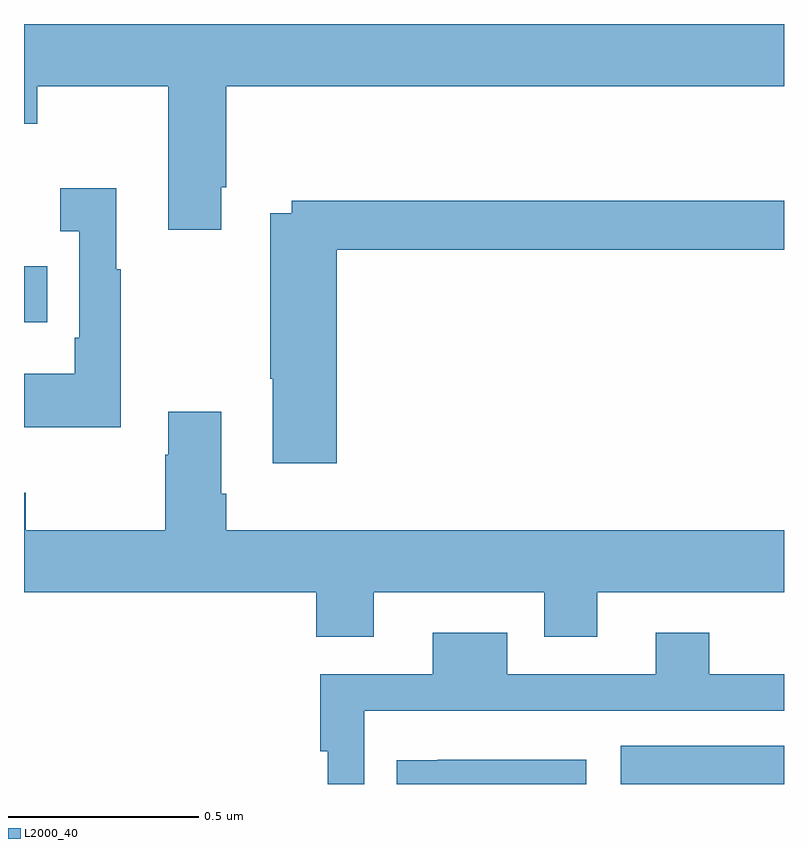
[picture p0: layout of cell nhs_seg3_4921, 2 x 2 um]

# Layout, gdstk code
import gdstk
lib = gdstk.Library(unit=1e-6, precision=1e-09)
def R(c, l, rs):  # rectangles x0, y0, x1, y1
    for r in rs: c.add(gdstk.rectangle(r[:2], r[2:], *l))
def P(c, l, *ps):  # polygons
    for p in ps: c.add(gdstk.Polygon(p, *l))
L2000_40 = (2000, 40)

nhs_seg3_4921 = lib.new_cell('nhs_seg3_4921')
R(nhs_seg3_4921, L2000_40, [(173.57,712.4,174,712.501), (172,713.615,172.061,713.763)])
P(nhs_seg3_4921, L2000_40, [(172.519,713.971),(172.532,713.971),(172.532,714.236),(174,714.236),(174,714.4),(172,714.4),(172,714.137),(172.035,714.137),(172.035,714.236),(172.379,714.236),(172.379,713.859),(172.519,713.859)],
  [(172.255,713.755),(172.243,713.755),(172.243,713.968),(172.095,713.968),(172.095,713.855),(172.146,713.855),(172.146,713.575),(172.134,713.575),(172.134,713.479),(172,713.479),(172,713.339),(172.255,713.339)],
  [(172.823,713.806),(174,713.806),(174,713.935),(172.704,713.935),(172.704,713.902),(172.648,713.902),(172.648,713.467),(172.655,713.467),(172.655,713.244),(172.823,713.244)],
  [(172.921,712.904),(173.369,712.904),(173.369,712.787),(173.509,712.787),(173.509,712.904),(174,712.904),(174,713.068),(172.532,713.068),(172.532,713.164),(172.519,713.164),(172.519,713.38),(172.379,713.38),(172.379,713.267),(172.372,713.267),(172.372,713.068),(172.005,713.068),(172.005,713.167),(172,713.167),(172,712.904),(172.769,712.904),(172.769,712.787),(172.921,712.787)],
  [(172.896,712.593),(174,712.593),(174,712.689),(173.803,712.689),(173.803,712.798),(173.663,712.798),(173.663,712.689),(173.272,712.689),(173.272,712.798),(173.075,712.798),(173.075,712.689),(172.78,712.689),(172.78,712.486),(172.799,712.486),(172.799,712.4),(172.896,712.4)],
  [(173.479,712.464),(173.089,712.464),(173.089,712.463),(172.981,712.463),(172.981,712.4),(173.479,712.4)])

lib.write_gds('nhs_seg3_4921.gds')
